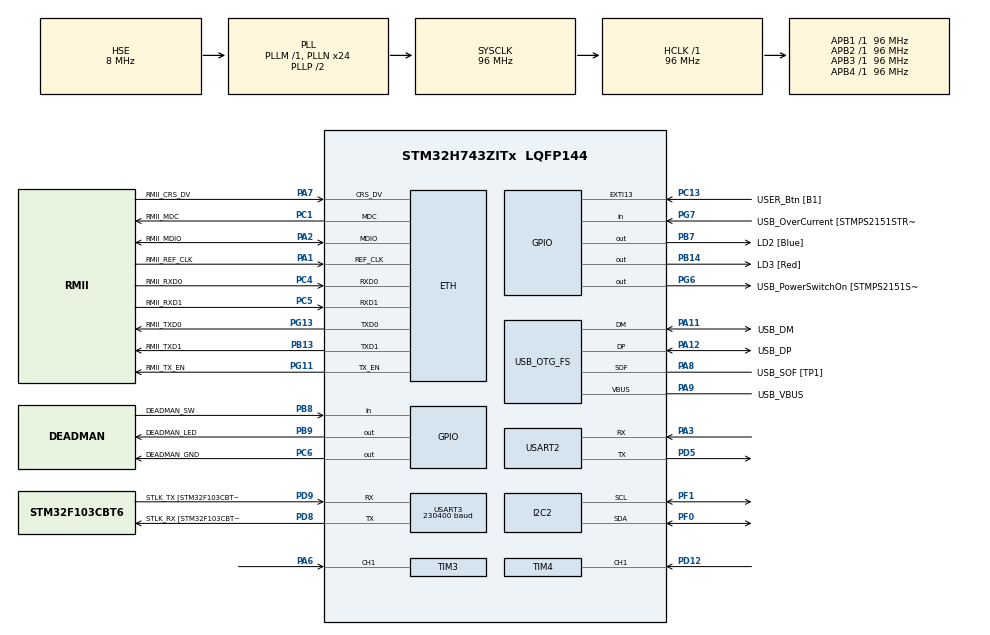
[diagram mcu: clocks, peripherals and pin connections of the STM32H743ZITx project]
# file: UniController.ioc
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ETH.MediaInterface=HAL_ETH_RMII_MODE
I2C2.Timing=0x10B0DCFB
Mcu.Family=STM32H7
Mcu.Name=STM32H743ZITx
Mcu.Package=LQFP144
NVIC.PriorityGroup=NVIC_PRIORITYGROUP_4
NVIC.TIM3_IRQn=true\:0\:0\:false\:false\:true\:true\:true
NVIC.TIM4_IRQn=true\:0\:0\:false\:false\:true\:true\:true
NVIC.TIM5_IRQn=true\:0\:0\:false\:false\:true\:true\:true
NVIC.USART2_IRQn=true\:0\:0\:false\:false\:true\:true\:true
NVIC.USART3_IRQn=true\:0\:0\:false\:false\:true\:true\:true
PA1.GPIO_Label=RMII_REF_CLK
PA1.Mode=RMII
PA1.Signal=ETH_REF_CLK
PA10.GPIO_Label=USB_ID
PA10.Signal=USB_OTG_FS_ID
PA11.GPIO_Label=USB_DM
PA11.Mode=Device_Only
PA11.Signal=USB_OTG_FS_DM
PA12.GPIO_Label=USB_DP
PA12.Mode=Device_Only
PA12.Signal=USB_OTG_FS_DP
PA2.GPIO_Label=RMII_MDIO
PA2.Mode=RMII
PA2.Signal=ETH_MDIO
PA3.Mode=Asynchronous
PA3.Signal=USART2_RX
PA6.Signal=S_TIM3_CH1
PA7.GPIO_Label=RMII_CRS_DV
PA7.Mode=RMII
PA7.Signal=ETH_CRS_DV
PA8.GPIO_Label=USB_SOF [TP1]
PA8.Mode=Activate_SOF_FS
PA8.Signal=USB_OTG_FS_SOF
PA9.GPIO_Label=USB_VBUS
PA9.Mode=Activate_VBUS
PA9.Signal=USB_OTG_FS_VBUS
PB13.GPIO_Label=RMII_TXD1
PB13.Mode=RMII
PB13.Signal=ETH_TXD1
PB14.GPIO_Label=LD3 [Red]
PB14.Signal=GPIO_Output
PB7.GPIO_Label=LD2 [Blue]
PB7.Signal=GPIO_Output
PB8.GPIO_Label=DEADMAN_SW
PB8.GPIO_PuPd=GPIO_PULLUP
PB8.Signal=GPIO_Input
PB9.GPIO_Label=DEADMAN_LED
PB9.Signal=GPIO_Output
PC1.GPIO_Label=RMII_MDC
PC1.Mode=RMII
PC1.Signal=ETH_MDC
PC13.GPIO_Label=USER_Btn [B1]
PC13.Signal=GPXTI13
PC14-OSC32_IN\ (OSC32_IN).Mode=LSE-External-Oscillator
PC14-OSC32_IN\ (OSC32_IN).Signal=RCC_OSC32_IN
PC15-OSC32_OUT\ (OSC32_OUT).Mode=LSE-External-Oscillator
PC15-OSC32_OUT\ (OSC32_OUT).Signal=RCC_OSC32_OUT
PC4.GPIO_Label=RMII_RXD0
PC4.Mode=RMII
PC4.Signal=ETH_RXD0
PC5.GPIO_Label=RMII_RXD1
PC5.Mode=RMII
PC5.Signal=ETH_RXD1
PC6.GPIO_Label=DEADMAN_GND
PC6.Signal=GPIO_Output
PD12.Signal=S_TIM4_CH1
PD5.Mode=Asynchronous
PD5.Signal=USART2_TX
PD8.GPIO_Label=STLK_RX [STM32F103CBT6_PA3]
PD8.Mode=Asynchronous
PD8.Signal=USART3_TX
PD9.GPIO_Label=STLK_TX [STM32F103CBT6_PA2]
PD9.Mode=Asynchronous
PD9.Signal=USART3_RX
PF0.Mode=I2C
PF0.Signal=I2C2_SDA
PF1.Mode=I2C
PF1.Signal=I2C2_SCL
PG11.GPIO_Label=RMII_TX_EN
PG11.Mode=RMII
PG11.Signal=ETH_TX_EN
PG13.GPIO_Label=RMII_TXD0
PG13.Mode=RMII
PG13.Signal=ETH_TXD0
PG6.GPIO_Label=USB_PowerSwitchOn [STMPS2151STR_EN]
PG6.Signal=GPIO_Output
PG7.GPIO_Label=USB_OverCurrent [STMPS2151STR_FAULT]
PG7.Signal=GPIO_Input
PH0-OSC_IN\ (PH0).GPIO_Label=MCO
PH0-OSC_IN\ (PH0).Mode=HSE-External-Clock-Source
PH0-OSC_IN\ (PH0).Signal=RCC_OSC_IN
PH1-OSC_OUT\ (PH1).Signal=RCC_OSC_OUT
ProjectManager.HeapSize=0x200
ProjectManager.StackSize=0x400
ProjectManager.TargetToolchain=STM32CubeIDE
RCC.48MHZClocksFreq_Value=24000000
RCC.ADCFreq_Value=16125000
RCC.AHBFreq_Value=216000000
RCC.APB1CLKDivider=RCC_HCLK_DIV4
RCC.APB1Freq_Value=96000000
RCC.APB1TimFreq_Value=108000000
RCC.APB2CLKDivider=RCC_HCLK_DIV2
RCC.APB2Freq_Value=96000000
RCC.APB2TimFreq_Value=216000000
RCC.APB3Freq_Value=96000000
RCC.APB4Freq_Value=96000000
RCC.CortexFreq_Value=96000000
RCC.DIVM1=1
RCC.DIVN1=24
RCC.DIVQ1=4
RCC.HCLKFreq_Value=96000000
RCC.HSE_VALUE=8000000
RCC.HSI_VALUE=64000000
RCC.PLLM=25
RCC.PLLMUL=RCC_PLL_MUL9
RCC.PLLN=432
RCC.PLLQ=9
RCC.PRESCALERUSB=RCC_USBCLKSOURCE_PLL_DIV1_5
RCC.PWR_Regulator_Voltage_Scale=PWR_REGULATOR_VOLTAGE_SCALE1
RCC.SYSCLKFreq_VALUE=96000000
RCC.SYSCLKSource=RCC_SYSCLKSOURCE_PLLCLK
RCC.SYSCLKSourceVirtual=RCC_SYSCLKSOURCE_PLLCLK
RCC.USBFreq_Value=48000000
RCC.VCOOutputFreq_Value=432000000
SH.S_TIM3_CH1.0=TIM3_CH1,Input_Capture1_from_TI1
SH.S_TIM4_CH1.0=TIM4_CH1,Input_Capture1_from_TI1
TIM3.Channel-Input_Capture1_from_TI1=TIM_CHANNEL_1
TIM3.Period=1000-1
TIM3.Prescaler=96
TIM4.AutoReloadPreload=TIM_AUTORELOAD_PRELOAD_ENABLE
TIM4.Channel-Input_Capture1_from_TI1=TIM_CHANNEL_1
TIM4.ClockDivision=TIM_CLOCKDIVISION_DIV1
TIM4.CounterMode=TIM_COUNTERMODE_UP
TIM4.Period=100
TIM4.Prescaler=96
TIM5.Period=100-1
TIM5.Prescaler=9600
USART2.Parity=PARITY_NONE
USART2.StopBits=STOPBITS_1
USART2.VirtualMode-Asynchronous=VM_ASYNC
USART2.WordLength=WORDLENGTH_8B
USART3.BaudRate=230400
USART3.Parity=PARITY_NONE
USART3.StopBits=STOPBITS_1
USART3.VirtualMode-Asynchronous=VM_ASYNC
USART3.WordLength=WORDLENGTH_8B
USB_OTG_FS.VirtualMode=Device_Only
VP_TIM3_VS_ClockSourceINT.Mode=Internal
VP_TIM4_VS_ClockSourceINT.Mode=Internal
VP_TIM5_VS_ClockSourceINT.Mode=Internal
board=NUCLEO-H743ZI

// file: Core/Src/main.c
/* USER CODE BEGIN Header */
/**
  ******************************************************************************
  * @file           : main.c
  * @brief          : Main program body
  ******************************************************************************
  * @attention
  *
  * Copyright (c) 2023 STMicroelectronics.
  * All rights reserved.
  *
  * This software is licensed under terms that can be found in the LICENSE file
  * in the root directory of this software component.
  * If no LICENSE file comes with this software, it is provided AS-IS.
  *
  ******************************************************************************
  */
/* USER CODE END Header */
#include "main.h"
#include "string.h"

/* USER CODE BEGIN Includes */
#include <stdbool.h>
#include <stdio.h>

#include "vesc_com.h"
#include "vesc_current_reg.h"
#include "queue.h"
#include "ctrl/common.h"
#include "ctrl/regulator.h"
#include "ctrl/kalman_filter.h"
#include "buf.h"

/* USER CODE END Includes */

#if defined ( __ICCARM__ ) /*!< IAR Compiler */

#pragma location=0x30040000
ETH_DMADescTypeDef  DMARxDscrTab[ETH_RX_DESC_CNT]; /* Ethernet Rx DMA Descriptors */
#pragma location=0x30040060
ETH_DMADescTypeDef  DMATxDscrTab[ETH_TX_DESC_CNT]; /* Ethernet Tx DMA Descriptors */
#pragma location=0x300400c0
uint8_t Rx_Buff[ETH_RX_DESC_CNT][ETH_MAX_PACKET_SIZE]; /* Ethernet Receive Buffers */

#elif defined ( __CC_ARM )  /* MDK ARM Compiler */

__attribute__((at(0x30040000))) ETH_DMADescTypeDef  DMARxDscrTab[ETH_RX_DESC_CNT]; /* Ethernet Rx DMA Descriptors */
__attribute__((at(0x30040060))) ETH_DMADescTypeDef  DMATxDscrTab[ETH_TX_DESC_CNT]; /* Ethernet Tx DMA Descriptors */
__attribute__((at(0x300400c0))) uint8_t Rx_Buff[ETH_RX_DESC_CNT][ETH_MAX_PACKET_SIZE]; /* Ethernet Receive Buffer */

#elif defined ( __GNUC__ ) /* GNU Compiler */

ETH_DMADescTypeDef DMARxDscrTab[ETH_RX_DESC_CNT] __attribute__((section(".RxDecripSection"))); /* Ethernet Rx DMA Descriptors */
ETH_DMADescTypeDef DMATxDscrTab[ETH_TX_DESC_CNT] __attribute__((section(".TxDecripSection")));   /* Ethernet Tx DMA Descriptors */
uint8_t Rx_Buff[ETH_RX_DESC_CNT][ETH_MAX_PACKET_SIZE] __attribute__((section(".RxArraySection"))); /* Ethernet Receive Buffers */

#endif

ETH_TxPacketConfig TxConfig;

ETH_HandleTypeDef heth;

I2C_HandleTypeDef hi2c2;

TIM_HandleTypeDef htim3;
TIM_HandleTypeDef htim4;
TIM_HandleTypeDef htim5;

UART_HandleTypeDef huart2;
UART_HandleTypeDef huart3;

PCD_HandleTypeDef hpcd_USB_OTG_FS;

void SystemClock_Config(void);
static void MX_GPIO_Init(void);
static void MX_ETH_Init(void);
static void MX_USB_OTG_FS_PCD_Init(void);
static void MX_USART2_UART_Init(void);
static void MX_TIM4_Init(void);
static void MX_I2C2_Init(void);
static void MX_USART3_UART_Init(void);
static void MX_TIM3_Init(void);
static void MX_TIM5_Init(void);

/* USER CODE BEGIN 0 */

static Queue MAIN_QUEUE;

uint16_t MPU_ADDR = 0x68;

uint32_t ms_counter;

// All in Hz
#define SCHEDULER_FREQ 10000

#define ACC_FREQ 100
#define VESC_FREQ 50
#define DUMP_FREQ 50
#define STEP_FREQ 500

// (will take many hours to overflow)
uint32_t scheduler_ctr = 0;

void dead_mans_switch_update_led();

void HAL_TIM_PeriodElapsedCallback(TIM_HandleTypeDef *htim) {
	if (htim == &htim3) { // htim3 ticks once every us, elapses once every ms
		ms_counter++;
		dead_mans_switch_update_led();
	}
	if (htim == &htim4 ) {
		// TODO: Put these on different timers?

		scheduler_ctr++;

		if (scheduler_ctr % (SCHEDULER_FREQ / ACC_FREQ) == 0) {
			queue_put(&MAIN_QUEUE, (Message) { .ty = MSG_REQ_ACC });
		}
		if (scheduler_ctr % (SCHEDULER_FREQ / VESC_FREQ) == 0) {
			queue_put(&MAIN_QUEUE, (Message) { .ty = MSG_REQ_VESC });
			queue_put(&MAIN_QUEUE, (Message) { .ty = MSG_FLUSH_VESC });
		}
		if (scheduler_ctr % (SCHEDULER_FREQ / DUMP_FREQ) == 0) {
			queue_put(&MAIN_QUEUE, (Message) { .ty = MSG_SEND_DEBUG });
		}
		if (scheduler_ctr % (SCHEDULER_FREQ / STEP_FREQ) == 0) {
			queue_put(&MAIN_QUEUE, (Message) { .ty = MSG_TIME_STEP });
		}

	}
}

void HAL_UART_TxCpltCallback(UART_HandleTypeDef *huart) {
	if (huart == &huart2) {
		vesc_uart_cb_txcplt(huart);
	}
}

void HAL_UART_RxCpltCallback(UART_HandleTypeDef *huart) {
	if (huart == &huart2) {
		vesc_uart_cb_rxcplt(huart);
	}
}

void HAL_UART_ErrorCallback(UART_HandleTypeDef *huart) {
	if (huart == &huart2) {

		vesc_uart_cb_rxcplt(huart);
	}
}

// This will overflow after 2^32/10^6s ≈ 4300s ≈ 1h11m
// Overflow should be handled by the get_dt and reset_dt
uint32_t us_since_startup() {
	uint32_t us_counter = ms_counter * 1000;
	uint32_t us_timer = htim3.Instance->CNT;
	return us_counter + us_timer;
}

uint32_t last_step = 0;
uint32_t get_and_reset_dt_us() {
	uint32_t now = us_since_startup();
	uint32_t dt = now - last_step; // If now < last_step, then we have overflowed. This should still get the right value
	last_step = now;
	return dt;
}

/*
// Checks if the dead man's switch is both connected and pressed
bool dead_mans_switch_activated() {
	if (HAL_GPIO_ReadPin(BTN1_T_GPIO_Port, BTN1_T_Pin) == GPIO_PIN_RESET) {
		HAL_GPIO_WritePin(LDARMED_GPIO_Port, LDARMED_Pin, GPIO_PIN_RESET);
		return false;
	}
	if (HAL_GPIO_ReadPin(BTN1_I_GPIO_Port, BTN1_I_Pin) == GPIO_PIN_SET) {
		HAL_GPIO_WritePin(LDARMED_GPIO_Port, LDARMED_Pin, GPIO_PIN_RESET);
		return false;
	}
	HAL_GPIO_WritePin(LDARMED_GPIO_Port, LDARMED_Pin, GPIO_PIN_SET);
	return true;
}
*/

bool dead_mans_switch_activated() {
	HAL_GPIO_WritePin(DEADMAN_GND_GPIO_Port, DEADMAN_GND_Pin, GPIO_PIN_RESET);
	return HAL_GPIO_ReadPin(DEADMAN_SW_GPIO_Port, DEADMAN_SW_Pin) == GPIO_PIN_RESET;
}
// QRV
const bool morse_table[] = {
	1, 1, 1, 0, 1, 1, 1, 0, 1, 0, 1, 1, 0, 0, 0,
	1, 0, 1, 1, 1, 0, 1, 1, 1, 0, 0, 0,
	1, 0, 1, 0, 1, 0, 1, 1, 1, 0, 0, 0,
	0, 0, 0, 0, 0
};

void dead_mans_switch_update_led() {
	// bool blink_on = (ms_counter % 600 < 300) && ((ms_counter & 3) == 1);
	bool blink_on = morse_table[(ms_counter / 83) % sizeof(morse_table)];
	blink_on &= (ms_counter & 3) == 1;
	blink_on |= dead_mans_switch_activated();

	HAL_GPIO_WritePin(DEADMAN_LED_GPIO_Port, DEADMAN_LED_Pin, blink_on ? GPIO_PIN_SET : GPIO_PIN_RESET);
}

// Puts the MPU6050 into active mode, with the appropriate CFGs from main.h set
void setup_mpu(I2C_HandleTypeDef *i2c, uint16_t acc_addr) {
	uint8_t pwr_mgnt_data[1] = {0x00}; // sleep = 0, cycle = 0
	HAL_I2C_Mem_Write(i2c, acc_addr << 1, 0x6b, 1, pwr_mgnt_data, 1, 200000); // Disable sleep

	uint8_t config[1] = {(0x0 << 3) | DLPF_CFG}; // fsync = 0, dlpf = 6 (5Hz)
	HAL_I2C_Mem_Write(i2c, acc_addr << 1, 0x1a, 1, config, 1, 200000);

	uint8_t gyro_config[1] = {(0x0 << 5) | (GYRO_FS_CFG << 3)}; // no self-test
	HAL_I2C_Mem_Write(i2c, acc_addr << 1, 0x1b, 1, gyro_config, 1, 200000);

	uint8_t acc_config[1] = {(0x0 << 5) | (ACC_FS_CFG << 3)}; // no self-test
	HAL_I2C_Mem_Write(i2c, acc_addr << 1, 0x1c, 1, acc_config, 1, 200000);
}

#define I2C_TIMEOUT 20

// TODO: Do this with interrupt
AccData get_accelerometer_data(I2C_HandleTypeDef *i2c, uint16_t acc_addr) {
	// 0x43 = gyro_xout_h
	// 0x44 = gyro_xout_
	uint8_t gyro_data[6] = {0x69, 0x69, 0x69, 0x69, 0x69, 0x69};

	if (HAL_I2C_Mem_Read(&hi2c2, acc_addr << 1, 0x43, 1, gyro_data, 6, 20) == HAL_ERROR) {
		return (AccData) { .success = false };
	}

	int16_t gx_i = (int16_t) ((gyro_data[0] << 8) | gyro_data[1]);
	int16_t gy_i = (int16_t) ((gyro_data[2] << 8) | gyro_data[3]);
	int16_t gz_i = (int16_t) ((gyro_data[4] << 8) | gyro_data[5]);
	float gx = gx_i * (GYRO_FS / (1<<15));
	float gy = gy_i * (GYRO_FS / (1<<15));
	float gz = gz_i * (GYRO_FS / (1<<15));

	uint8_t acc_data[6] = {0x69, 0x69, 0x69, 0x69, 0x69, 0x69};
	if (HAL_I2C_Mem_Read(&hi2c2, acc_addr << 1, 0x3b, 1, acc_data, 6, 20) == HAL_ERROR) {
		return (AccData) { .success = false };
	}
	int16_t ax_i = (int16_t) ((acc_data[0] << 8) | acc_data[1]);
	int16_t ay_i = (int16_t) ((acc_data[2] << 8) | acc_data[3]);
	int16_t az_i = (int16_t) ((acc_data[4] << 8) | acc_data[5]);
	float ax = ax_i * (ACC_FS / (1<<15));
	float ay = ay_i * (ACC_FS / (1<<15));
	float az = az_i * (ACC_FS / (1<<15));

	// Compensate for zero point and scale
    float az_mid = (13.45 + -6.7) / 2;
    float az_range = (13.45 - -6.7) / 2;
    float ay_mid = (9.6 + -10.1) / 2;
    float ay_range = (9.6 - -10.1) / 2;

    float az_adj = (az - az_mid) / az_range * 9.82;
    float ay_adj = (ay - ay_mid) / ay_range * 9.82;

    // TODO: Adjust y and z
    // TODO: This should be dynamically set based on start up values
    float gx_adj = gx + 0.045; // zero point compensation

	return (AccData) {
		.success = true,
		.gx = gx_adj, .gy = gy, .gz = gz,
		.ax = ax, .ay = ay_adj, .az = az_adj
	};
}

struct {
	EscData last_esc;
	AccData last_acc;

	States st;
	Matrix q_w, q_t;
	float a;
  Covariances covs;
  R_error r_vals;
} CTRL;

const float Q_T = 80.0;
const float Q_W = 100.0;

#define MOTOR_CW 0
#define MOTOR_CCW 1

#define MOTOR_DIRECTION MOTOR_CCW

// #define QUEUE_DEBUG

/* USER CODE END 0 */

int main(void)
{

  /* USER CODE BEGIN 1 */
	char dbgbuf[500];
  /* USER CODE END 1 */

  /* MCU Configuration--------------------------------------------------------*/

  /* Reset of all peripherals, Initializes the Flash interface and the Systick. */
  HAL_Init();

  /* Configure the system clock */
  SystemClock_Config();

  /* Initialize all configured peripherals */
  MX_GPIO_Init();
  MX_ETH_Init();
  MX_USB_OTG_FS_PCD_Init();
  MX_USART2_UART_Init();
  MX_TIM4_Init();
  MX_I2C2_Init();
  MX_USART3_UART_Init();
  MX_TIM3_Init();
  MX_TIM5_Init();
  /* USER CODE BEGIN 2 */

	HAL_TIM_Base_Start_IT(&htim3);
	HAL_TIM_Base_Start_IT(&htim4);
	HAL_TIM_Base_Start_IT(&htim5);

	queue_init(&MAIN_QUEUE);

	char *msg = "\r\n\r\nhewwo hii!!!!\r\n";
	HAL_UART_Transmit(&huart3, (uint8_t*) msg, strlen(msg), 1000000);

	//vesc_init(&huart2, &huart3, &MAIN_QUEUE);
	vesc_init(&huart2, &huart3, &MAIN_QUEUE);

	setup_mpu(&hi2c2, MPU_ADDR);

	// queue_put(&MAIN_QUEUE, (Message) { .ty = MSG_REQ_SENSORS });
	// queue_put(&MAIN_QUEUE, (Message) { .ty = MSG_FLUSH_VESC });
	//queue_put(&MAIN_QUEUE, (Message) { .ty = MSG_REQ_SENSORS });
	//queue_put(&MAIN_QUEUE, (Message) { .ty = MSG_REQ_SENSORS });
	//queue_put(&MAIN_QUEUE, (Message) { .ty = MSG_TIME_STEP });
	//queue_put(&MAIN_QUEUE, (Message) { .ty = MSG_SEND_DEBUG });

	struct {
		float dt;
		float current_w, current_o;
		float wheel_pos_d;
		unsigned int msgs_since_last;

		int msg_idx, n_time_steps_since_last;
	} dbg_values;

	dbg_values.msgs_since_last = 0;
	dbg_values.msg_idx = 0;
	dbg_values.n_time_steps_since_last = 0;

	VESC_Current_Reg vcr = (VESC_Current_Reg) {
		.k_p = 1.,
	};

	// For Kalman + control system

	CTRL.a = 0;
	CTRL.st = (States) { .x1 = 0, .x2 = 0, .x3 = 0, .x4 = 0 , .x5 = 0, .x6 = 0};
  //Measurement error
  CTRL.r_vals = (R_error) {.pitch = 0.3, .roll = 0.3, .wheel = 20};
  //Struct for all covariances
  CTRL.covs = (Covariances) {.pitch.m11 = 10.0, .pitch.m12 = 0.0, .pitch.m21 = 10.0, .pitch.m22 = 0.0,
                             .roll.m11 = 10.0, .roll.m12 = 0.0, .roll.m21 = 10.0, .roll.m22 = 0.0,
                             .wheel.m11 = 10.0, .wheel.m12 = 0.0, .wheel.m21 = 0.0, .wheel.m22 = 10.0};

  //Init the pid for roll, Kp, Ki, Kd
  init_pid_regulator(20,0,0);

  /* USER CODE END 2 */

  /* Infinite loop */
	while (1)
	{

    /* USER CODE BEGIN 3 */

		if (!queue_has(&MAIN_QUEUE)) {
			continue;
		}

		Message msg = queue_pop(&MAIN_QUEUE);
		dbg_values.msgs_since_last++;

		switch (msg.ty) {
		case MSG_NONE:
			break;

		case MSG_SEND_DEBUG: {
			// TODO: Send state of kalman filter and controller

			/*
			char ctrl_hex[2 * sizeof(CTRL) + 2];
			char *ctrl_data = (void*) &CTRL;
			for (int i = 0; i < sizeof(CTRL); i++) {
				write_hex(&ctrl_hex[2*i], ctrl_data[i]);
			}
			ctrl_hex[2 * sizeof(CTRL)] = 0;
			*/

			bool dead_mans = dead_mans_switch_activated();

			int dbglen = sprintf(
				dbgbuf,
				"msg = %4d, time steps = %4d, qsz = %4d, switch = %s. t = %8lu ms. I_w = %6ld mA, erpm = %8ld, "
				"ax = %8ld, ay = %8ld, az = %8ld, "
				"gx = %7.5f rad/s, "
				"theta = %8ld mrad, theta_d = %8ld mrad, x = %8ld, x_d = %8ld"
				//"I (filtered) = %6ld mA, I (out) = %6ld mA"
				"\r\n",
				dbg_values.msg_idx, dbg_values.n_time_steps_since_last, queue_nelem(&MAIN_QUEUE), dead_mans ? "on" : "off", (int32_t) (us_since_startup() / 1000), (int32_t) (1000 * dbg_values.current_w), (int32_t) (CTRL.last_esc.erpm),
				(int32_t) (1000 * CTRL.last_acc.ax), (int32_t) (1000 * CTRL.last_acc.ay), (int32_t) (1000 * CTRL.last_acc.az),
				CTRL.last_acc.gx,
				(int32_t) (1000 * CTRL.st.x1), (int32_t) (1000 * CTRL.st.x2), (int32_t) (1000 * CTRL.st.x3), (int32_t) (1000 * CTRL.st.x4)
				//(int32_t) (1000 * vcr.input_filtered), (int32_t) (1000 * dbg_values.current_o)
			);
			dbg_values.msg_idx++;
			dbg_values.n_time_steps_since_last = 0;

			HAL_UART_Transmit_IT(&huart3, (uint8_t *) dbgbuf, dbglen);
			// Use below if you are debug printing other things
			// HAL_UART_Transmit(&huart3, (uint8_t *) dbgbuf, dbglen, 10000);

			break;
		}

		case MSG_TIME_STEP: {
			uint32_t dt_us = get_and_reset_dt_us();
			float dt = (float) dt_us / 1000000.0;

#ifdef QUEUE_DEBUG
			int dbglen = sprintf(
				dbgbuf,
				"{Q: TIME_STEP by %7.5f}\r\n",
				dt
			);

			HAL_UART_Transmit(&huart3, (uint8_t *) dbgbuf, dbglen, 10000);
#endif

			dbg_values.dt = dt;

#if MOTOR_DIRECTION == MOTOR_CW
			float wheel_rpm = CTRL.last_esc.erpm / 22.9;
#elif MOTOR_DIRECTION == MOTOR_CCW
			float wheel_rpm = CTRL.last_esc.erpm / -22.9;
#else
#error "Invalid motor direction"
#endif

			CTRL.q_t.m11 = Q_T * dt*dt*dt*dt / 4;
			CTRL.q_t.m12 = Q_T * dt*dt*dt / 2;
			CTRL.q_t.m21 = Q_T * dt*dt*dt / 2;
			CTRL.q_t.m22 = Q_T * dt*dt / 2;

			CTRL.q_w.m11 = Q_W * dt*dt*dt*dt / 4;
			CTRL.q_w.m12 = Q_W * dt*dt*dt / 2;
			CTRL.q_w.m21 = Q_W * dt*dt*dt / 2;
			CTRL.q_w.m22 = Q_W * dt*dt / 2;

			kalman_filter_predict(0, dt, &CTRL.st, &CTRL.q_t, &CTRL.q_w, &CTRL.covs, &CTRL.r_vals);
      roll_kalman_filter_predict(0, dt, &CTRL.st, &CTRL.q_t, &CTRL.q_w, &CTRL.covs, &CTRL.r_vals);

			float tau = LookaheadSpeedRegulator(0, CTRL.st.x1, CTRL.st.x2, CTRL.st.x4, dt);
			float current_wanted = tau / 0.59; // see notes
			float current_wanted = tau / -0.59; // see notes
#else
#error "Invalid motor direction"
#endif
			//current_wanted *= 0.7;

			dbg_values.current_w = current_wanted;

			kalman_filter_update(-CTRL.last_acc.gx, wheel_rpm, dt, &CTRL.st, &CTRL.q_t, &CTRL.q_w, &CTRL.covs, &CTRL.r_vals);
      roll_kalman_filter_update(-CTRL.last_acc.gy, dt, &CTRL.st, &CTRL.q_t, &CTRL.q_w, &CTRL.covs, &CTRL.r_vals);

			float current_out;
			if (dead_mans_switch_activated()) {
				vcr.setpoint = current_wanted;
				current_out = vcr_step(&vcr, dt, CTRL.last_esc.current_motor);
			} else {
				vcr.input_filtered = 0;
				vcr.setpoint = 0;
				current_out = 0;
			}
			dbg_values.current_o = current_out;

			vesc_set_current(current_out);

			dbg_values.n_time_steps_since_last++;

			break;
		}

		case MSG_FLUSH_VESC: {
#ifdef QUEUE_DEBUG
			int dbglen = sprintf(
				dbgbuf,
				"{Q: FLUSH VESC}\r\n"
			);

			HAL_UART_Transmit(&huart3, (uint8_t *) dbgbuf, dbglen, 10000);
#endif

			vesc_transmit_and_recv(&huart2, &huart3);
			break;
		}

		case MSG_VESC_UART_GOT_DATA: {
#ifdef QUEUE_DEBUG
			int dbglen = sprintf(
				dbgbuf,
				"{Q: UART_GOT_DATA}\r\n"
			);

			HAL_UART_Transmit(&huart3, (uint8_t *) dbgbuf, dbglen, 10000);
#endif

			vesc_got_data();
			break;
		}

		case MSG_REQ_ACC: {
#ifdef QUEUE_DEBUG
			int dbglen = sprintf(
				dbgbuf,
				"{Q: REQ_ACC}\r\n"
			);

			HAL_UART_Transmit(&huart3, (uint8_t *) dbgbuf, dbglen, 10000);
#endif
			AccData acc_data = get_accelerometer_data(&hi2c2, MPU_ADDR);
			if (acc_data.success == false) {
				int dbglen = sprintf(
					dbgbuf,
					"[ACC I2C FAIL]\r\n"
				);

				HAL_UART_Transmit(&huart3, (uint8_t *) dbgbuf, dbglen, 10000);
			} else {
				queue_put(&MAIN_QUEUE, (Message) { .ty = MSG_GOT_ACC_DATA, .acc_data = acc_data });
			}

			break;

		}

		case MSG_REQ_VESC: {
#ifdef QUEUE_DEBUG
			int dbglen = sprintf(
				dbgbuf,
				"{Q: REQ_VESC}\r\n"
			);

			HAL_UART_Transmit(&huart3, (uint8_t *) dbgbuf, dbglen, 10000);
#endif

			vesc_request_data();

			break;
		}
		case MSG_GOT_ACC_DATA: {
#ifdef QUEUE_DEBUG
			int dbglen = sprintf(
				dbgbuf,
				"{Q: GOT_ACC_DATA}\r\n"
			);

			HAL_UART_Transmit(&huart3, (uint8_t *) dbgbuf, dbglen, 10000);
#endif

			AccData acc_data = msg.acc_data;
			CTRL.last_acc = acc_data;

			break;
		}

		case MSG_GOT_ESC_DATA: {
#ifdef QUEUE_DEBUG
			int dbglen = sprintf(
				dbgbuf,
				"{Q: GOT_ESC_DATA temp=%7.5f erpm=%7.5f}\r\n",
				msg.esc_data.temp_mos, msg.esc_data.erpm
			);

			HAL_UART_Transmit(&huart3, (uint8_t *) dbgbuf, dbglen, 100000);
#endif

			EscData esc_data = msg.esc_data;
			CTRL.last_esc = esc_data;

			break;
		}
		}
	}
  /* USER CODE END 3 */
}

void SystemClock_Config(void)
{
  RCC_OscInitTypeDef RCC_OscInitStruct = {0};
  RCC_ClkInitTypeDef RCC_ClkInitStruct = {0};

  /** Supply configuration update enable
  */
  HAL_PWREx_ConfigSupply(PWR_LDO_SUPPLY);
  /** Configure the main internal regulator output voltage
  */
  __HAL_PWR_VOLTAGESCALING_CONFIG(PWR_REGULATOR_VOLTAGE_SCALE1);

  while(!__HAL_PWR_GET_FLAG(PWR_FLAG_VOSRDY)) {}
  /** Initializes the RCC Oscillators according to the specified parameters
  * in the RCC_OscInitTypeDef structure.
  */
  RCC_OscInitStruct.OscillatorType = RCC_OSCILLATORTYPE_HSE;
  RCC_OscInitStruct.HSEState = RCC_HSE_BYPASS;
  RCC_OscInitStruct.PLL.PLLState = RCC_PLL_ON;
  RCC_OscInitStruct.PLL.PLLSource = RCC_PLLSOURCE_HSE;
  RCC_OscInitStruct.PLL.PLLM = 1;
  RCC_OscInitStruct.PLL.PLLN = 24;
  RCC_OscInitStruct.PLL.PLLP = 2;
  RCC_OscInitStruct.PLL.PLLQ = 4;
  RCC_OscInitStruct.PLL.PLLR = 2;
  RCC_OscInitStruct.PLL.PLLRGE = RCC_PLL1VCIRANGE_3;
  RCC_OscInitStruct.PLL.PLLVCOSEL = RCC_PLL1VCOWIDE;
  RCC_OscInitStruct.PLL.PLLFRACN = 0;
  if (HAL_RCC_OscConfig(&RCC_OscInitStruct) != HAL_OK)
  {
    Error_Handler();
  }
  /** Initializes the CPU, AHB and APB buses clocks
  */
  RCC_ClkInitStruct.ClockType = RCC_CLOCKTYPE_HCLK|RCC_CLOCKTYPE_SYSCLK
                              |RCC_CLOCKTYPE_PCLK1|RCC_CLOCKTYPE_PCLK2
                              |RCC_CLOCKTYPE_D3PCLK1|RCC_CLOCKTYPE_D1PCLK1;
  RCC_ClkInitStruct.SYSCLKSource = RCC_SYSCLKSOURCE_PLLCLK;
  RCC_ClkInitStruct.SYSCLKDivider = RCC_SYSCLK_DIV1;
  RCC_ClkInitStruct.AHBCLKDivider = RCC_HCLK_DIV1;
  RCC_ClkInitStruct.APB3CLKDivider = RCC_APB3_DIV1;
  RCC_ClkInitStruct.APB1CLKDivider = RCC_APB1_DIV1;
  RCC_ClkInitStruct.APB2CLKDivider = RCC_APB2_DIV1;
  RCC_ClkInitStruct.APB4CLKDivider = RCC_APB4_DIV1;

  if (HAL_RCC_ClockConfig(&RCC_ClkInitStruct, FLASH_LATENCY_1) != HAL_OK)
  {
    Error_Handler();
  }
}

static void MX_ETH_Init(void)
{

   static uint8_t MACAddr[6];

  heth.Instance = ETH;
  MACAddr[0] = 0x00;
  MACAddr[1] = 0x80;
  MACAddr[2] = 0xE1;
  MACAddr[3] = 0x00;
  MACAddr[4] = 0x00;
  MACAddr[5] = 0x00;
  heth.Init.MACAddr = &MACAddr[0];
  heth.Init.MediaInterface = HAL_ETH_RMII_MODE;
  heth.Init.TxDesc = DMATxDscrTab;
  heth.Init.RxDesc = DMARxDscrTab;
  heth.Init.RxBuffLen = 1524;

  if (HAL_ETH_Init(&heth) != HAL_OK)
  {
    Error_Handler();
  }

  memset(&TxConfig, 0 , sizeof(ETH_TxPacketConfig));
  TxConfig.Attributes = ETH_TX_PACKETS_FEATURES_CSUM | ETH_TX_PACKETS_FEATURES_CRCPAD;
  TxConfig.ChecksumCtrl = ETH_CHECKSUM_IPHDR_PAYLOAD_INSERT_PHDR_CALC;
  TxConfig.CRCPadCtrl = ETH_CRC_PAD_INSERT;

}

static void MX_I2C2_Init(void)
{

  hi2c2.Instance = I2C2;
  hi2c2.Init.Timing = 0x10B0DCFB;
  hi2c2.Init.OwnAddress1 = 0;
  hi2c2.Init.AddressingMode = I2C_ADDRESSINGMODE_7BIT;
  hi2c2.Init.DualAddressMode = I2C_DUALADDRESS_DISABLE;
  hi2c2.Init.OwnAddress2 = 0;
  hi2c2.Init.OwnAddress2Masks = I2C_OA2_NOMASK;
  hi2c2.Init.GeneralCallMode = I2C_GENERALCALL_DISABLE;
  hi2c2.Init.NoStretchMode = I2C_NOSTRETCH_DISABLE;
  if (HAL_I2C_Init(&hi2c2) != HAL_OK)
  {
    Error_Handler();
  }
  /** Configure Analogue filter
  */
  if (HAL_I2CEx_ConfigAnalogFilter(&hi2c2, I2C_ANALOGFILTER_ENABLE) != HAL_OK)
  {
    Error_Handler();
  }
  /** Configure Digital filter
  */
  if (HAL_I2CEx_ConfigDigitalFilter(&hi2c2, 0) != HAL_OK)
  {
    Error_Handler();
  }

}

static void MX_TIM3_Init(void)
{

  TIM_ClockConfigTypeDef sClockSourceConfig = {0};
  TIM_MasterConfigTypeDef sMasterConfig = {0};
  TIM_IC_InitTypeDef sConfigIC = {0};

  htim3.Instance = TIM3;
  htim3.Init.Prescaler = 96;
  htim3.Init.CounterMode = TIM_COUNTERMODE_UP;
  htim3.Init.Period = 1000-1;
  htim3.Init.ClockDivision = TIM_CLOCKDIVISION_DIV1;
  htim3.Init.AutoReloadPreload = TIM_AUTORELOAD_PRELOAD_DISABLE;
  if (HAL_TIM_Base_Init(&htim3) != HAL_OK)
  {
    Error_Handler();
  }
  sClockSourceConfig.ClockSource = TIM_CLOCKSOURCE_INTERNAL;
  if (HAL_TIM_ConfigClockSource(&htim3, &sClockSourceConfig) != HAL_OK)
  {
    Error_Handler();
  }
  if (HAL_TIM_IC_Init(&htim3) != HAL_OK)
  {
    Error_Handler();
  }
  sMasterConfig.MasterOutputTrigger = TIM_TRGO_RESET;
  sMasterConfig.MasterSlaveMode = TIM_MASTERSLAVEMODE_DISABLE;
  if (HAL_TIMEx_MasterConfigSynchronization(&htim3, &sMasterConfig) != HAL_OK)
  {
    Error_Handler();
  }
  sConfigIC.ICPolarity = TIM_INPUTCHANNELPOLARITY_RISING;
  sConfigIC.ICSelection = TIM_ICSELECTION_DIRECTTI;
  sConfigIC.ICPrescaler = TIM_ICPSC_DIV1;
  sConfigIC.ICFilter = 0;
  if (HAL_TIM_IC_ConfigChannel(&htim3, &sConfigIC, TIM_CHANNEL_1) != HAL_OK)
  {
    Error_Handler();
  }

}

static void MX_TIM4_Init(void)
{

  TIM_ClockConfigTypeDef sClockSourceConfig = {0};
  TIM_MasterConfigTypeDef sMasterConfig = {0};
  TIM_IC_InitTypeDef sConfigIC = {0};

  htim4.Instance = TIM4;
  htim4.Init.Prescaler = 96;
  htim4.Init.CounterMode = TIM_COUNTERMODE_UP;
  htim4.Init.Period = 100;
  htim4.Init.ClockDivision = TIM_CLOCKDIVISION_DIV1;
  htim4.Init.AutoReloadPreload = TIM_AUTORELOAD_PRELOAD_ENABLE;
  if (HAL_TIM_Base_Init(&htim4) != HAL_OK)
  {
    Error_Handler();
  }
  sClockSourceConfig.ClockSource = TIM_CLOCKSOURCE_INTERNAL;
  if (HAL_TIM_ConfigClockSource(&htim4, &sClockSourceConfig) != HAL_OK)
  {
    Error_Handler();
  }
  if (HAL_TIM_IC_Init(&htim4) != HAL_OK)
  {
    Error_Handler();
  }
  sMasterConfig.MasterOutputTrigger = TIM_TRGO_RESET;
  sMasterConfig.MasterSlaveMode = TIM_MASTERSLAVEMODE_DISABLE;
  if (HAL_TIMEx_MasterConfigSynchronization(&htim4, &sMasterConfig) != HAL_OK)
  {
    Error_Handler();
  }
  sConfigIC.ICPolarity = TIM_INPUTCHANNELPOLARITY_RISING;
  sConfigIC.ICSelection = TIM_ICSELECTION_DIRECTTI;
  sConfigIC.ICPrescaler = TIM_ICPSC_DIV1;
  sConfigIC.ICFilter = 0;
  if (HAL_TIM_IC_ConfigChannel(&htim4, &sConfigIC, TIM_CHANNEL_1) != HAL_OK)
  {
    Error_Handler();
  }

}

static void MX_TIM5_Init(void)
{

  TIM_ClockConfigTypeDef sClockSourceConfig = {0};
  TIM_MasterConfigTypeDef sMasterConfig = {0};

  htim5.Instance = TIM5;
  htim5.Init.Prescaler = 9600;
  htim5.Init.CounterMode = TIM_COUNTERMODE_UP;
  htim5.Init.Period = 100-1;
  htim5.Init.ClockDivision = TIM_CLOCKDIVISION_DIV1;
  htim5.Init.AutoReloadPreload = TIM_AUTORELOAD_PRELOAD_DISABLE;
  if (HAL_TIM_Base_Init(&htim5) != HAL_OK)
  {
    Error_Handler();
  }
  sClockSourceConfig.ClockSource = TIM_CLOCKSOURCE_INTERNAL;
  if (HAL_TIM_ConfigClockSource(&htim5, &sClockSourceConfig) != HAL_OK)
  {
    Error_Handler();
  }
  sMasterConfig.MasterOutputTrigger = TIM_TRGO_RESET;
  sMasterConfig.MasterSlaveMode = TIM_MASTERSLAVEMODE_DISABLE;
  if (HAL_TIMEx_MasterConfigSynchronization(&htim5, &sMasterConfig) != HAL_OK)
  {
    Error_Handler();
  }

}

static void MX_USART2_UART_Init(void)
{

  huart2.Instance = USART2;
  huart2.Init.BaudRate = 115200;
  huart2.Init.WordLength = UART_WORDLENGTH_8B;
  huart2.Init.StopBits = UART_STOPBITS_1;
  huart2.Init.Parity = UART_PARITY_NONE;
  huart2.Init.Mode = UART_MODE_TX_RX;
  huart2.Init.HwFlowCtl = UART_HWCONTROL_NONE;
  huart2.Init.OverSampling = UART_OVERSAMPLING_16;
  huart2.Init.OneBitSampling = UART_ONE_BIT_SAMPLE_DISABLE;
  huart2.Init.ClockPrescaler = UART_PRESCALER_DIV1;
  huart2.AdvancedInit.AdvFeatureInit = UART_ADVFEATURE_NO_INIT;
  if (HAL_UART_Init(&huart2) != HAL_OK)
  {
    Error_Handler();
  }
  if (HAL_UARTEx_SetTxFifoThreshold(&huart2, UART_TXFIFO_THRESHOLD_1_8) != HAL_OK)
  {
    Error_Handler();
  }
  if (HAL_UARTEx_SetRxFifoThreshold(&huart2, UART_RXFIFO_THRESHOLD_1_8) != HAL_OK)
  {
    Error_Handler();
  }
  if (HAL_UARTEx_DisableFifoMode(&huart2) != HAL_OK)
  {
    Error_Handler();
  }

}

static void MX_USART3_UART_Init(void)
{

  huart3.Instance = USART3;
  huart3.Init.BaudRate = 230400;
  huart3.Init.WordLength = UART_WORDLENGTH_8B;
  huart3.Init.StopBits = UART_STOPBITS_1;
  huart3.Init.Parity = UART_PARITY_NONE;
  huart3.Init.Mode = UART_MODE_TX_RX;
  huart3.Init.HwFlowCtl = UART_HWCONTROL_NONE;
  huart3.Init.OverSampling = UART_OVERSAMPLING_16;
  huart3.Init.OneBitSampling = UART_ONE_BIT_SAMPLE_DISABLE;
  huart3.Init.ClockPrescaler = UART_PRESCALER_DIV1;
  huart3.AdvancedInit.AdvFeatureInit = UART_ADVFEATURE_NO_INIT;
  if (HAL_UART_Init(&huart3) != HAL_OK)
  {
    Error_Handler();
  }
  if (HAL_UARTEx_SetTxFifoThreshold(&huart3, UART_TXFIFO_THRESHOLD_1_8) != HAL_OK)
  {
    Error_Handler();
  }
  if (HAL_UARTEx_SetRxFifoThreshold(&huart3, UART_RXFIFO_THRESHOLD_1_8) != HAL_OK)
  {
    Error_Handler();
  }
  if (HAL_UARTEx_DisableFifoMode(&huart3) != HAL_OK)
  {
    Error_Handler();
  }

}

static void MX_USB_OTG_FS_PCD_Init(void)
{

  hpcd_USB_OTG_FS.Instance = USB_OTG_FS;
  hpcd_USB_OTG_FS.Init.dev_endpoints = 9;
  hpcd_USB_OTG_FS.Init.speed = PCD_SPEED_FULL;
  hpcd_USB_OTG_FS.Init.dma_enable = DISABLE;
  hpcd_USB_OTG_FS.Init.phy_itface = PCD_PHY_EMBEDDED;
  hpcd_USB_OTG_FS.Init.Sof_enable = ENABLE;
  hpcd_USB_OTG_FS.Init.low_power_enable = DISABLE;
  hpcd_USB_OTG_FS.Init.lpm_enable = DISABLE;
  hpcd_USB_OTG_FS.Init.battery_charging_enable = ENABLE;
  hpcd_USB_OTG_FS.Init.vbus_sensing_enable = ENABLE;
  hpcd_USB_OTG_FS.Init.use_dedicated_ep1 = DISABLE;
  if (HAL_PCD_Init(&hpcd_USB_OTG_FS) != HAL_OK)
  {
    Error_Handler();
  }

}

static void MX_GPIO_Init(void)
{
  GPIO_InitTypeDef GPIO_InitStruct = {0};

  /* GPIO Ports Clock Enable */
  __HAL_RCC_GPIOC_CLK_ENABLE();
  __HAL_RCC_GPIOF_CLK_ENABLE();
  __HAL_RCC_GPIOH_CLK_ENABLE();
  __HAL_RCC_GPIOA_CLK_ENABLE();
  __HAL_RCC_GPIOB_CLK_ENABLE();
  __HAL_RCC_GPIOD_CLK_ENABLE();
  __HAL_RCC_GPIOG_CLK_ENABLE();

  /*Configure GPIO pin Output Level */
  HAL_GPIO_WritePin(GPIOB, LD3_Pin|LD2_Pin|DEADMAN_LED_Pin, GPIO_PIN_RESET);

  /*Configure GPIO pin Output Level */
  HAL_GPIO_WritePin(USB_PowerSwitchOn_GPIO_Port, USB_PowerSwitchOn_Pin, GPIO_PIN_RESET);

  /*Configure GPIO pin Output Level */
  HAL_GPIO_WritePin(DEADMAN_GND_GPIO_Port, DEADMAN_GND_Pin, GPIO_PIN_RESET);

  /*Configure GPIO pin : USER_Btn_Pin */
  GPIO_InitStruct.Pin = USER_Btn_Pin;
  GPIO_InitStruct.Mode = GPIO_MODE_IT_RISING;
  GPIO_InitStruct.Pull = GPIO_NOPULL;
  HAL_GPIO_Init(USER_Btn_GPIO_Port, &GPIO_InitStruct);

  /*Configure GPIO pins : LD3_Pin LD2_Pin DEADMAN_LED_Pin */
  GPIO_InitStruct.Pin = LD3_Pin|LD2_Pin|DEADMAN_LED_Pin;
  GPIO_InitStruct.Mode = GPIO_MODE_OUTPUT_PP;
  GPIO_InitStruct.Pull = GPIO_NOPULL;
  GPIO_InitStruct.Speed = GPIO_SPEED_FREQ_LOW;
  HAL_GPIO_Init(GPIOB, &GPIO_InitStruct);

  /*Configure GPIO pin : USB_PowerSwitchOn_Pin */
  GPIO_InitStruct.Pin = USB_PowerSwitchOn_Pin;
  GPIO_InitStruct.Mode = GPIO_MODE_OUTPUT_PP;
  GPIO_InitStruct.Pull = GPIO_NOPULL;
  GPIO_InitStruct.Speed = GPIO_SPEED_FREQ_LOW;
  HAL_GPIO_Init(USB_PowerSwitchOn_GPIO_Port, &GPIO_InitStruct);

  /*Configure GPIO pin : USB_OverCurrent_Pin */
  GPIO_InitStruct.Pin = USB_OverCurrent_Pin;
  GPIO_InitStruct.Mode = GPIO_MODE_INPUT;
  GPIO_InitStruct.Pull = GPIO_NOPULL;
  HAL_GPIO_Init(USB_OverCurrent_GPIO_Port, &GPIO_InitStruct);

  /*Configure GPIO pin : DEADMAN_GND_Pin */
  GPIO_InitStruct.Pin = DEADMAN_GND_Pin;
  GPIO_InitStruct.Mode = GPIO_MODE_OUTPUT_PP;
  GPIO_InitStruct.Pull = GPIO_NOPULL;
  GPIO_InitStruct.Speed = GPIO_SPEED_FREQ_LOW;
  HAL_GPIO_Init(DEADMAN_GND_GPIO_Port, &GPIO_InitStruct);

  /*Configure GPIO pin : DEADMAN_SW_Pin */
  GPIO_InitStruct.Pin = DEADMAN_SW_Pin;
  GPIO_InitStruct.Mode = GPIO_MODE_INPUT;
  GPIO_InitStruct.Pull = GPIO_PULLUP;
  HAL_GPIO_Init(DEADMAN_SW_GPIO_Port, &GPIO_InitStruct);

}

void Error_Handler(void)
{
  __disable_irq();
  while (1)
  {
  }
}
